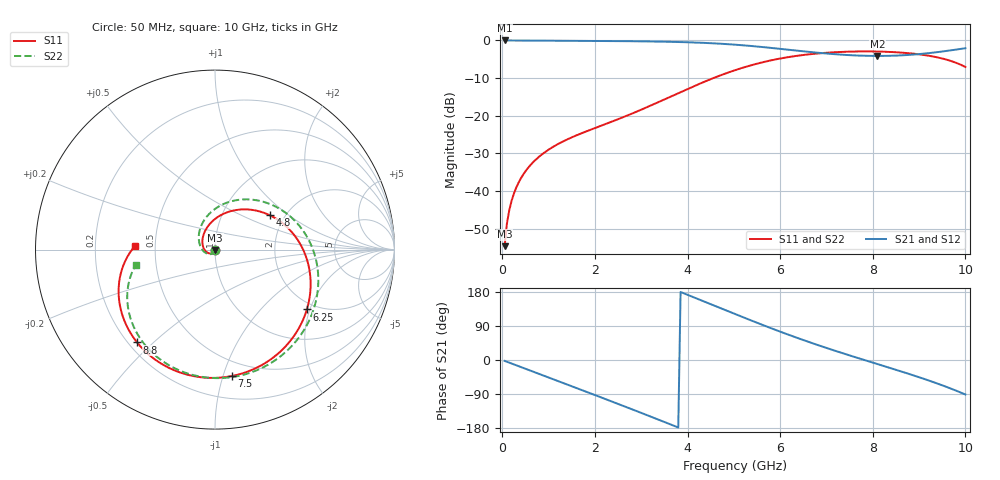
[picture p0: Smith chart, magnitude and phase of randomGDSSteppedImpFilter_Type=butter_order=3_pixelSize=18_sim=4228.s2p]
! freq	dB(S11)	phase(S11)	dB(S12)	phase(S12)
!  dB(S21)	phase(S21)	dB(S22)	phase(S22)
!S-par simulation data
#  GHz  S  DB  R 50
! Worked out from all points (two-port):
!   200 points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, 50 MHz to 10 GHz, reference 50 ohm
!   highest |S21| = 0.00 dB at 50 MHz (marker M1); lowest = -4.1 dB at 8.1 GHz (marker M2)
!   |S21| within 3 dB of the highest: start of sweep to 6.593 GHz; 9.461 GHz to end of sweep
!   lowest |S11| = -54.6 dB at 50 MHz (marker M3), VSWR 1.00, Z = 50 - j0.185 ohm
!   |S11| at or under -10 dB: start of sweep to 4.557 GHz
!   |S22| runs from -54.6 to -2.9 dB; largest |S21 - S12| = 0
!   S11 on the Smith chart (normalised r, x): 50 MHz: 1.00, -0.00; 4.8 GHz: 1.68, +0.74; 6.25 GHz: 1.79, -1.91; 7.5 GHz: 0.38, -1.07; 8.8 GHz: 0.23, -0.45; 10 GHz: 0.38, +0.02
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0.05  -54.64 -90.5  -0.00 -2.3  -0.00 -2.3  -54.64 -90.1
0.1  -48.63 -94.2  -0.00 -4.6  -0.00 -4.6  -48.62 -93.4
0.2  -42.62 -99.9  -0.01 -9.3  -0.01 -9.3  -42.62 -98.3
0.5  -34.76 -115.9  -0.03 -23.2  -0.03 -23.2  -34.76 -111.9
1.15  -27.88 -150.0  -0.07 -53.1  -0.07 -53.1  -27.91 -140.1
1.75  -24.46 178.8  -0.11 -80.8  -0.11 -80.8  -24.53 -165.6
2.15  -22.57 158.3  -0.14 -99.4  -0.14 -99.4  -22.67 177.4
2.55  -20.68 138.2  -0.17 -118.2  -0.17 -118.2  -20.79 159.9
3  -18.39 116.2  -0.23 -139.5  -0.23 -139.5  -18.50 139.4
3.4  -16.22 97.2  -0.30 -158.7  -0.30 -158.7  -16.32 120.4
4.1  -12.35 64.6  -0.52 167.2  -0.52 167.2  -12.42 85.6
4.8  -8.87 32.1  -0.93 132.5  -0.93 132.5  -8.91 50.1
5.05  -7.80 20.5  -1.14 120.2  -1.14 120.2  -7.83 37.5
5.6  -5.86 -4.7  -1.73 93.5  -1.73 93.5  -5.87 10.3
6.25  -4.28 -33.1  -2.56 63.6  -2.56 63.6  -4.28 -19.9
6.7  -3.58 -51.6  -3.13 44.2  -3.13 44.2  -3.58 -39.4
7.5  -2.97 -82.3  -3.91 12.1  -3.91 12.1  -2.95 -71.2
8.1  -2.94 -104.2  -4.11 -10.7  -4.11 -10.7  -2.92 -93.5
8.35  -3.04 -113.3  -4.08 -20.1  -4.08 -20.1  -3.02 -102.7
8.8  -3.41 -130.0  -3.82 -37.5  -3.82 -37.5  -3.39 -119.4
9.45  -4.64 -156.5  -3.02 -64.5  -3.02 -64.5  -4.61 -145.0
10  -7.04 177.1  -2.06 -91.0  -2.06 -91.0  -6.97 -169.3
